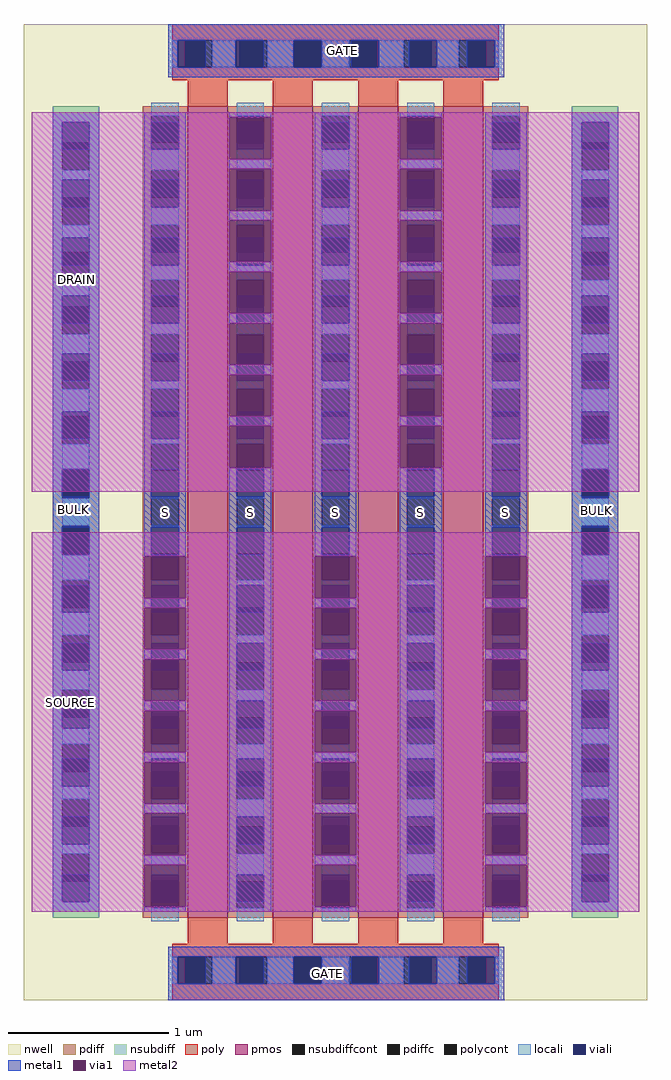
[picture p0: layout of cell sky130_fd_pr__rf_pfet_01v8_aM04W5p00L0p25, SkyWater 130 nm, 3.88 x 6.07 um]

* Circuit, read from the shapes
.subckt sky130_fd_pr__rf_pfet_01v8_aM04W5p00L0p25 BULK DRAIN GATE SOURCE
XM1 DRAIN GATE SOURCE BULK sky130_fd_pr__pfet_01v8 w=5.05 l=0.25 m=4
.ends

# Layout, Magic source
magic
tech sky130A
magscale 1 2
<< nwell >>
rect 0 0 776 1214
<< pmos >>
rect 204 102 254 1112
rect 310 102 360 1112
rect 416 102 466 1112
rect 522 102 572 1112
<< pdiff >>
rect 148 1100 204 1112
rect 148 1066 159 1100
rect 193 1066 204 1100
rect 148 1032 204 1066
rect 148 998 159 1032
rect 193 998 204 1032
rect 148 964 204 998
rect 148 930 159 964
rect 193 930 204 964
rect 148 896 204 930
rect 148 862 159 896
rect 193 862 204 896
rect 148 828 204 862
rect 148 794 159 828
rect 193 794 204 828
rect 148 760 204 794
rect 148 726 159 760
rect 193 726 204 760
rect 148 692 204 726
rect 148 658 159 692
rect 193 658 204 692
rect 148 624 204 658
rect 148 590 159 624
rect 193 590 204 624
rect 148 556 204 590
rect 148 522 159 556
rect 193 522 204 556
rect 148 488 204 522
rect 148 454 159 488
rect 193 454 204 488
rect 148 420 204 454
rect 148 386 159 420
rect 193 386 204 420
rect 148 352 204 386
rect 148 318 159 352
rect 193 318 204 352
rect 148 284 204 318
rect 148 250 159 284
rect 193 250 204 284
rect 148 216 204 250
rect 148 182 159 216
rect 193 182 204 216
rect 148 148 204 182
rect 148 114 159 148
rect 193 114 204 148
rect 148 102 204 114
rect 254 1100 310 1112
rect 254 1066 265 1100
rect 299 1066 310 1100
rect 254 1032 310 1066
rect 254 998 265 1032
rect 299 998 310 1032
rect 254 964 310 998
rect 254 930 265 964
rect 299 930 310 964
rect 254 896 310 930
rect 254 862 265 896
rect 299 862 310 896
rect 254 828 310 862
rect 254 794 265 828
rect 299 794 310 828
rect 254 760 310 794
rect 254 726 265 760
rect 299 726 310 760
rect 254 692 310 726
rect 254 658 265 692
rect 299 658 310 692
rect 254 624 310 658
rect 254 590 265 624
rect 299 590 310 624
rect 254 556 310 590
rect 254 522 265 556
rect 299 522 310 556
rect 254 488 310 522
rect 254 454 265 488
rect 299 454 310 488
rect 254 420 310 454
rect 254 386 265 420
rect 299 386 310 420
rect 254 352 310 386
rect 254 318 265 352
rect 299 318 310 352
rect 254 284 310 318
rect 254 250 265 284
rect 299 250 310 284
rect 254 216 310 250
rect 254 182 265 216
rect 299 182 310 216
rect 254 148 310 182
rect 254 114 265 148
rect 299 114 310 148
rect 254 102 310 114
rect 360 1100 416 1112
rect 360 1066 371 1100
rect 405 1066 416 1100
rect 360 1032 416 1066
rect 360 998 371 1032
rect 405 998 416 1032
rect 360 964 416 998
rect 360 930 371 964
rect 405 930 416 964
rect 360 896 416 930
rect 360 862 371 896
rect 405 862 416 896
rect 360 828 416 862
rect 360 794 371 828
rect 405 794 416 828
rect 360 760 416 794
rect 360 726 371 760
rect 405 726 416 760
rect 360 692 416 726
rect 360 658 371 692
rect 405 658 416 692
rect 360 624 416 658
rect 360 590 371 624
rect 405 590 416 624
rect 360 556 416 590
rect 360 522 371 556
rect 405 522 416 556
rect 360 488 416 522
rect 360 454 371 488
rect 405 454 416 488
rect 360 420 416 454
rect 360 386 371 420
rect 405 386 416 420
rect 360 352 416 386
rect 360 318 371 352
rect 405 318 416 352
rect 360 284 416 318
rect 360 250 371 284
rect 405 250 416 284
rect 360 216 416 250
rect 360 182 371 216
rect 405 182 416 216
rect 360 148 416 182
rect 360 114 371 148
rect 405 114 416 148
rect 360 102 416 114
rect 466 1100 522 1112
rect 466 1066 477 1100
rect 511 1066 522 1100
rect 466 1032 522 1066
rect 466 998 477 1032
rect 511 998 522 1032
rect 466 964 522 998
rect 466 930 477 964
rect 511 930 522 964
rect 466 896 522 930
rect 466 862 477 896
rect 511 862 522 896
rect 466 828 522 862
rect 466 794 477 828
rect 511 794 522 828
rect 466 760 522 794
rect 466 726 477 760
rect 511 726 522 760
rect 466 692 522 726
rect 466 658 477 692
rect 511 658 522 692
rect 466 624 522 658
rect 466 590 477 624
rect 511 590 522 624
rect 466 556 522 590
rect 466 522 477 556
rect 511 522 522 556
rect 466 488 522 522
rect 466 454 477 488
rect 511 454 522 488
rect 466 420 522 454
rect 466 386 477 420
rect 511 386 522 420
rect 466 352 522 386
rect 466 318 477 352
rect 511 318 522 352
rect 466 284 522 318
rect 466 250 477 284
rect 511 250 522 284
rect 466 216 522 250
rect 466 182 477 216
rect 511 182 522 216
rect 466 148 522 182
rect 466 114 477 148
rect 511 114 522 148
rect 466 102 522 114
rect 572 1100 628 1112
rect 572 1066 583 1100
rect 617 1066 628 1100
rect 572 1032 628 1066
rect 572 998 583 1032
rect 617 998 628 1032
rect 572 964 628 998
rect 572 930 583 964
rect 617 930 628 964
rect 572 896 628 930
rect 572 862 583 896
rect 617 862 628 896
rect 572 828 628 862
rect 572 794 583 828
rect 617 794 628 828
rect 572 760 628 794
rect 572 726 583 760
rect 617 726 628 760
rect 572 692 628 726
rect 572 658 583 692
rect 617 658 628 692
rect 572 624 628 658
rect 572 590 583 624
rect 617 590 628 624
rect 572 556 628 590
rect 572 522 583 556
rect 617 522 628 556
rect 572 488 628 522
rect 572 454 583 488
rect 617 454 628 488
rect 572 420 628 454
rect 572 386 583 420
rect 617 386 628 420
rect 572 352 628 386
rect 572 318 583 352
rect 617 318 628 352
rect 572 284 628 318
rect 572 250 583 284
rect 617 250 628 284
rect 572 216 628 250
rect 572 182 583 216
rect 617 182 628 216
rect 572 148 628 182
rect 572 114 583 148
rect 617 114 628 148
rect 572 102 628 114
<< pdiffc >>
rect 159 1066 193 1100
rect 159 998 193 1032
rect 159 930 193 964
rect 159 862 193 896
rect 159 794 193 828
rect 159 726 193 760
rect 159 658 193 692
rect 159 590 193 624
rect 159 522 193 556
rect 159 454 193 488
rect 159 386 193 420
rect 159 318 193 352
rect 159 250 193 284
rect 159 182 193 216
rect 159 114 193 148
rect 265 1066 299 1100
rect 265 998 299 1032
rect 265 930 299 964
rect 265 862 299 896
rect 265 794 299 828
rect 265 726 299 760
rect 265 658 299 692
rect 265 590 299 624
rect 265 522 299 556
rect 265 454 299 488
rect 265 386 299 420
rect 265 318 299 352
rect 265 250 299 284
rect 265 182 299 216
rect 265 114 299 148
rect 371 1066 405 1100
rect 371 998 405 1032
rect 371 930 405 964
rect 371 862 405 896
rect 371 794 405 828
rect 371 726 405 760
rect 371 658 405 692
rect 371 590 405 624
rect 371 522 405 556
rect 371 454 405 488
rect 371 386 405 420
rect 371 318 405 352
rect 371 250 405 284
rect 371 182 405 216
rect 371 114 405 148
rect 477 1066 511 1100
rect 477 998 511 1032
rect 477 930 511 964
rect 477 862 511 896
rect 477 794 511 828
rect 477 726 511 760
rect 477 658 511 692
rect 477 590 511 624
rect 477 522 511 556
rect 477 454 511 488
rect 477 386 511 420
rect 477 318 511 352
rect 477 250 511 284
rect 477 182 511 216
rect 477 114 511 148
rect 583 1066 617 1100
rect 583 998 617 1032
rect 583 930 617 964
rect 583 862 617 896
rect 583 794 617 828
rect 583 726 617 760
rect 583 658 617 692
rect 583 590 617 624
rect 583 522 617 556
rect 583 454 617 488
rect 583 386 617 420
rect 583 318 617 352
rect 583 250 617 284
rect 583 182 617 216
rect 583 114 617 148
<< nsubdiff >>
rect 36 1066 94 1112
rect 36 1032 48 1066
rect 82 1032 94 1066
rect 36 998 94 1032
rect 36 964 48 998
rect 82 964 94 998
rect 36 930 94 964
rect 36 896 48 930
rect 82 896 94 930
rect 36 862 94 896
rect 36 828 48 862
rect 82 828 94 862
rect 36 794 94 828
rect 36 760 48 794
rect 82 760 94 794
rect 36 726 94 760
rect 36 692 48 726
rect 82 692 94 726
rect 36 658 94 692
rect 36 624 48 658
rect 82 624 94 658
rect 36 590 94 624
rect 36 556 48 590
rect 82 556 94 590
rect 36 522 94 556
rect 36 488 48 522
rect 82 488 94 522
rect 36 454 94 488
rect 36 420 48 454
rect 82 420 94 454
rect 36 386 94 420
rect 36 352 48 386
rect 82 352 94 386
rect 36 318 94 352
rect 36 284 48 318
rect 82 284 94 318
rect 36 250 94 284
rect 36 216 48 250
rect 82 216 94 250
rect 36 182 94 216
rect 36 148 48 182
rect 82 148 94 182
rect 36 102 94 148
rect 682 1066 740 1112
rect 682 1032 694 1066
rect 728 1032 740 1066
rect 682 998 740 1032
rect 682 964 694 998
rect 728 964 740 998
rect 682 930 740 964
rect 682 896 694 930
rect 728 896 740 930
rect 682 862 740 896
rect 682 828 694 862
rect 728 828 740 862
rect 682 794 740 828
rect 682 760 694 794
rect 728 760 740 794
rect 682 726 740 760
rect 682 692 694 726
rect 728 692 740 726
rect 682 658 740 692
rect 682 624 694 658
rect 728 624 740 658
rect 682 590 740 624
rect 682 556 694 590
rect 728 556 740 590
rect 682 522 740 556
rect 682 488 694 522
rect 728 488 740 522
rect 682 454 740 488
rect 682 420 694 454
rect 728 420 740 454
rect 682 386 740 420
rect 682 352 694 386
rect 728 352 740 386
rect 682 318 740 352
rect 682 284 694 318
rect 728 284 740 318
rect 682 250 740 284
rect 682 216 694 250
rect 728 216 740 250
rect 682 182 740 216
rect 682 148 694 182
rect 728 148 740 182
rect 682 102 740 148
<< nsubdiffcont >>
rect 48 1032 82 1066
rect 48 964 82 998
rect 48 896 82 930
rect 48 828 82 862
rect 48 760 82 794
rect 48 692 82 726
rect 48 624 82 658
rect 48 556 82 590
rect 48 488 82 522
rect 48 420 82 454
rect 48 352 82 386
rect 48 284 82 318
rect 48 216 82 250
rect 48 148 82 182
rect 694 1032 728 1066
rect 694 964 728 998
rect 694 896 728 930
rect 694 828 728 862
rect 694 760 728 794
rect 694 692 728 726
rect 694 624 728 658
rect 694 556 728 590
rect 694 488 728 522
rect 694 420 728 454
rect 694 352 728 386
rect 694 284 728 318
rect 694 216 728 250
rect 694 148 728 182
<< poly >>
rect 185 1194 591 1214
rect 185 1160 201 1194
rect 235 1160 269 1194
rect 303 1160 337 1194
rect 371 1160 405 1194
rect 439 1160 473 1194
rect 507 1160 541 1194
rect 575 1160 591 1194
rect 185 1144 591 1160
rect 204 1112 254 1144
rect 310 1112 360 1144
rect 416 1112 466 1144
rect 522 1112 572 1144
rect 204 70 254 102
rect 310 70 360 102
rect 416 70 466 102
rect 522 70 572 102
rect 185 54 591 70
rect 185 20 201 54
rect 235 20 269 54
rect 303 20 337 54
rect 371 20 405 54
rect 439 20 473 54
rect 507 20 541 54
rect 575 20 591 54
rect 185 0 591 20
<< polycont >>
rect 201 1160 235 1194
rect 269 1160 303 1194
rect 337 1160 371 1194
rect 405 1160 439 1194
rect 473 1160 507 1194
rect 541 1160 575 1194
rect 201 20 235 54
rect 269 20 303 54
rect 337 20 371 54
rect 405 20 439 54
rect 473 20 507 54
rect 541 20 575 54
<< locali >>
rect 185 1160 192 1194
rect 235 1160 264 1194
rect 303 1160 336 1194
rect 371 1160 405 1194
rect 442 1160 473 1194
rect 514 1160 541 1194
rect 586 1160 591 1194
rect 159 1100 193 1116
rect 48 1020 82 1032
rect 48 948 82 964
rect 48 876 82 896
rect 48 804 82 828
rect 48 732 82 760
rect 48 660 82 692
rect 48 590 82 624
rect 48 522 82 554
rect 48 454 82 482
rect 48 386 82 410
rect 48 318 82 338
rect 48 250 82 266
rect 48 182 82 194
rect 159 1032 193 1058
rect 159 964 193 986
rect 159 896 193 914
rect 159 828 193 842
rect 159 760 193 770
rect 159 692 193 698
rect 159 624 193 626
rect 159 588 193 590
rect 159 516 193 522
rect 159 444 193 454
rect 159 372 193 386
rect 159 300 193 318
rect 159 228 193 250
rect 159 156 193 182
rect 159 98 193 114
rect 265 1100 299 1116
rect 265 1032 299 1058
rect 265 964 299 986
rect 265 896 299 914
rect 265 828 299 842
rect 265 760 299 770
rect 265 692 299 698
rect 265 624 299 626
rect 265 588 299 590
rect 265 516 299 522
rect 265 444 299 454
rect 265 372 299 386
rect 265 300 299 318
rect 265 228 299 250
rect 265 156 299 182
rect 265 98 299 114
rect 371 1100 405 1116
rect 371 1032 405 1058
rect 371 964 405 986
rect 371 896 405 914
rect 371 828 405 842
rect 371 760 405 770
rect 371 692 405 698
rect 371 624 405 626
rect 371 588 405 590
rect 371 516 405 522
rect 371 444 405 454
rect 371 372 405 386
rect 371 300 405 318
rect 371 228 405 250
rect 371 156 405 182
rect 371 98 405 114
rect 477 1100 511 1116
rect 477 1032 511 1058
rect 477 964 511 986
rect 477 896 511 914
rect 477 828 511 842
rect 477 760 511 770
rect 477 692 511 698
rect 477 624 511 626
rect 477 588 511 590
rect 477 516 511 522
rect 477 444 511 454
rect 477 372 511 386
rect 477 300 511 318
rect 477 228 511 250
rect 477 156 511 182
rect 477 98 511 114
rect 583 1100 617 1116
rect 583 1032 617 1058
rect 583 964 617 986
rect 583 896 617 914
rect 583 828 617 842
rect 583 760 617 770
rect 583 692 617 698
rect 583 624 617 626
rect 583 588 617 590
rect 583 516 617 522
rect 583 444 617 454
rect 583 372 617 386
rect 583 300 617 318
rect 583 228 617 250
rect 583 156 617 182
rect 694 1020 728 1032
rect 694 948 728 964
rect 694 876 728 896
rect 694 804 728 828
rect 694 732 728 760
rect 694 660 728 692
rect 694 590 728 624
rect 694 522 728 554
rect 694 454 728 482
rect 694 386 728 410
rect 694 318 728 338
rect 694 250 728 266
rect 694 182 728 194
rect 583 98 617 114
rect 185 20 192 54
rect 235 20 264 54
rect 303 20 336 54
rect 371 20 405 54
rect 442 20 473 54
rect 514 20 541 54
rect 586 20 591 54
<< viali >>
rect 192 1160 201 1194
rect 201 1160 226 1194
rect 264 1160 269 1194
rect 269 1160 298 1194
rect 336 1160 337 1194
rect 337 1160 370 1194
rect 408 1160 439 1194
rect 439 1160 442 1194
rect 480 1160 507 1194
rect 507 1160 514 1194
rect 552 1160 575 1194
rect 575 1160 586 1194
rect 48 1066 82 1092
rect 48 1058 82 1066
rect 48 998 82 1020
rect 48 986 82 998
rect 48 930 82 948
rect 48 914 82 930
rect 48 862 82 876
rect 48 842 82 862
rect 48 794 82 804
rect 48 770 82 794
rect 48 726 82 732
rect 48 698 82 726
rect 48 658 82 660
rect 48 626 82 658
rect 48 556 82 588
rect 48 554 82 556
rect 48 488 82 516
rect 48 482 82 488
rect 48 420 82 444
rect 48 410 82 420
rect 48 352 82 372
rect 48 338 82 352
rect 48 284 82 300
rect 48 266 82 284
rect 48 216 82 228
rect 48 194 82 216
rect 48 148 82 156
rect 48 122 82 148
rect 159 1066 193 1092
rect 159 1058 193 1066
rect 159 998 193 1020
rect 159 986 193 998
rect 159 930 193 948
rect 159 914 193 930
rect 159 862 193 876
rect 159 842 193 862
rect 159 794 193 804
rect 159 770 193 794
rect 159 726 193 732
rect 159 698 193 726
rect 159 658 193 660
rect 159 626 193 658
rect 159 556 193 588
rect 159 554 193 556
rect 159 488 193 516
rect 159 482 193 488
rect 159 420 193 444
rect 159 410 193 420
rect 159 352 193 372
rect 159 338 193 352
rect 159 284 193 300
rect 159 266 193 284
rect 159 216 193 228
rect 159 194 193 216
rect 159 148 193 156
rect 159 122 193 148
rect 265 1066 299 1092
rect 265 1058 299 1066
rect 265 998 299 1020
rect 265 986 299 998
rect 265 930 299 948
rect 265 914 299 930
rect 265 862 299 876
rect 265 842 299 862
rect 265 794 299 804
rect 265 770 299 794
rect 265 726 299 732
rect 265 698 299 726
rect 265 658 299 660
rect 265 626 299 658
rect 265 556 299 588
rect 265 554 299 556
rect 265 488 299 516
rect 265 482 299 488
rect 265 420 299 444
rect 265 410 299 420
rect 265 352 299 372
rect 265 338 299 352
rect 265 284 299 300
rect 265 266 299 284
rect 265 216 299 228
rect 265 194 299 216
rect 265 148 299 156
rect 265 122 299 148
rect 371 1066 405 1092
rect 371 1058 405 1066
rect 371 998 405 1020
rect 371 986 405 998
rect 371 930 405 948
rect 371 914 405 930
rect 371 862 405 876
rect 371 842 405 862
rect 371 794 405 804
rect 371 770 405 794
rect 371 726 405 732
rect 371 698 405 726
rect 371 658 405 660
rect 371 626 405 658
rect 371 556 405 588
rect 371 554 405 556
rect 371 488 405 516
rect 371 482 405 488
rect 371 420 405 444
rect 371 410 405 420
rect 371 352 405 372
rect 371 338 405 352
rect 371 284 405 300
rect 371 266 405 284
rect 371 216 405 228
rect 371 194 405 216
rect 371 148 405 156
rect 371 122 405 148
rect 477 1066 511 1092
rect 477 1058 511 1066
rect 477 998 511 1020
rect 477 986 511 998
rect 477 930 511 948
rect 477 914 511 930
rect 477 862 511 876
rect 477 842 511 862
rect 477 794 511 804
rect 477 770 511 794
rect 477 726 511 732
rect 477 698 511 726
rect 477 658 511 660
rect 477 626 511 658
rect 477 556 511 588
rect 477 554 511 556
rect 477 488 511 516
rect 477 482 511 488
rect 477 420 511 444
rect 477 410 511 420
rect 477 352 511 372
rect 477 338 511 352
rect 477 284 511 300
rect 477 266 511 284
rect 477 216 511 228
rect 477 194 511 216
rect 477 148 511 156
rect 477 122 511 148
rect 583 1066 617 1092
rect 583 1058 617 1066
rect 583 998 617 1020
rect 583 986 617 998
rect 583 930 617 948
rect 583 914 617 930
rect 583 862 617 876
rect 583 842 617 862
rect 583 794 617 804
rect 583 770 617 794
rect 583 726 617 732
rect 583 698 617 726
rect 583 658 617 660
rect 583 626 617 658
rect 583 556 617 588
rect 583 554 617 556
rect 583 488 617 516
rect 583 482 617 488
rect 583 420 617 444
rect 583 410 617 420
rect 583 352 617 372
rect 583 338 617 352
rect 583 284 617 300
rect 583 266 617 284
rect 583 216 617 228
rect 583 194 617 216
rect 583 148 617 156
rect 583 122 617 148
rect 694 1066 728 1092
rect 694 1058 728 1066
rect 694 998 728 1020
rect 694 986 728 998
rect 694 930 728 948
rect 694 914 728 930
rect 694 862 728 876
rect 694 842 728 862
rect 694 794 728 804
rect 694 770 728 794
rect 694 726 728 732
rect 694 698 728 726
rect 694 658 728 660
rect 694 626 728 658
rect 694 556 728 588
rect 694 554 728 556
rect 694 488 728 516
rect 694 482 728 488
rect 694 420 728 444
rect 694 410 728 420
rect 694 352 728 372
rect 694 338 728 352
rect 694 284 728 300
rect 694 266 728 284
rect 694 216 728 228
rect 694 194 728 216
rect 694 148 728 156
rect 694 122 728 148
rect 192 20 201 54
rect 201 20 226 54
rect 264 20 269 54
rect 269 20 298 54
rect 336 20 337 54
rect 337 20 370 54
rect 408 20 439 54
rect 439 20 442 54
rect 480 20 507 54
rect 507 20 514 54
rect 552 20 575 54
rect 575 20 586 54
<< metal1 >>
rect 180 1194 598 1214
rect 180 1160 192 1194
rect 226 1160 264 1194
rect 298 1160 336 1194
rect 370 1160 408 1194
rect 442 1160 480 1194
rect 514 1160 552 1194
rect 586 1160 598 1194
rect 180 1148 598 1160
rect 36 1092 94 1104
rect 36 1058 48 1092
rect 82 1058 94 1092
rect 36 1020 94 1058
rect 36 986 48 1020
rect 82 986 94 1020
rect 36 948 94 986
rect 36 914 48 948
rect 82 914 94 948
rect 36 876 94 914
rect 36 842 48 876
rect 82 842 94 876
rect 36 804 94 842
rect 36 770 48 804
rect 82 770 94 804
rect 36 732 94 770
rect 36 698 48 732
rect 82 698 94 732
rect 36 660 94 698
rect 36 626 48 660
rect 82 626 94 660
rect 36 588 94 626
rect 36 554 48 588
rect 82 554 94 588
rect 36 516 94 554
rect 36 482 48 516
rect 82 482 94 516
rect 36 444 94 482
rect 36 410 48 444
rect 82 410 94 444
rect 36 372 94 410
rect 36 338 48 372
rect 82 338 94 372
rect 36 300 94 338
rect 36 266 48 300
rect 82 266 94 300
rect 36 228 94 266
rect 36 194 48 228
rect 82 194 94 228
rect 36 156 94 194
rect 36 122 48 156
rect 82 122 94 156
rect 36 110 94 122
rect 150 1092 202 1104
rect 150 1058 159 1092
rect 193 1058 202 1092
rect 150 1020 202 1058
rect 150 986 159 1020
rect 193 986 202 1020
rect 150 948 202 986
rect 150 914 159 948
rect 193 914 202 948
rect 150 876 202 914
rect 150 842 159 876
rect 193 842 202 876
rect 150 804 202 842
rect 150 770 159 804
rect 193 770 202 804
rect 150 732 202 770
rect 150 698 159 732
rect 193 698 202 732
rect 150 660 202 698
rect 150 626 159 660
rect 193 626 202 660
rect 150 588 202 626
rect 150 554 159 588
rect 193 554 202 588
rect 150 552 202 554
rect 150 488 159 500
rect 193 488 202 500
rect 150 424 159 436
rect 193 424 202 436
rect 150 360 159 372
rect 193 360 202 372
rect 150 300 202 308
rect 150 296 159 300
rect 193 296 202 300
rect 150 232 202 244
rect 150 168 202 180
rect 150 110 202 116
rect 256 1098 308 1104
rect 256 1034 308 1046
rect 256 970 308 982
rect 256 914 265 918
rect 299 914 308 918
rect 256 906 308 914
rect 256 842 265 854
rect 299 842 308 854
rect 256 778 265 790
rect 299 778 308 790
rect 256 714 265 726
rect 299 714 308 726
rect 256 660 308 662
rect 256 626 265 660
rect 299 626 308 660
rect 256 588 308 626
rect 256 554 265 588
rect 299 554 308 588
rect 256 516 308 554
rect 256 482 265 516
rect 299 482 308 516
rect 256 444 308 482
rect 256 410 265 444
rect 299 410 308 444
rect 256 372 308 410
rect 256 338 265 372
rect 299 338 308 372
rect 256 300 308 338
rect 256 266 265 300
rect 299 266 308 300
rect 256 228 308 266
rect 256 194 265 228
rect 299 194 308 228
rect 256 156 308 194
rect 256 122 265 156
rect 299 122 308 156
rect 256 110 308 122
rect 362 1092 414 1104
rect 362 1058 371 1092
rect 405 1058 414 1092
rect 362 1020 414 1058
rect 362 986 371 1020
rect 405 986 414 1020
rect 362 948 414 986
rect 362 914 371 948
rect 405 914 414 948
rect 362 876 414 914
rect 362 842 371 876
rect 405 842 414 876
rect 362 804 414 842
rect 362 770 371 804
rect 405 770 414 804
rect 362 732 414 770
rect 362 698 371 732
rect 405 698 414 732
rect 362 660 414 698
rect 362 626 371 660
rect 405 626 414 660
rect 362 588 414 626
rect 362 554 371 588
rect 405 554 414 588
rect 362 552 414 554
rect 362 488 371 500
rect 405 488 414 500
rect 362 424 371 436
rect 405 424 414 436
rect 362 360 371 372
rect 405 360 414 372
rect 362 300 414 308
rect 362 296 371 300
rect 405 296 414 300
rect 362 232 414 244
rect 362 168 414 180
rect 362 110 414 116
rect 468 1098 520 1104
rect 468 1034 520 1046
rect 468 970 520 982
rect 468 914 477 918
rect 511 914 520 918
rect 468 906 520 914
rect 468 842 477 854
rect 511 842 520 854
rect 468 778 477 790
rect 511 778 520 790
rect 468 714 477 726
rect 511 714 520 726
rect 468 660 520 662
rect 468 626 477 660
rect 511 626 520 660
rect 468 588 520 626
rect 468 554 477 588
rect 511 554 520 588
rect 468 516 520 554
rect 468 482 477 516
rect 511 482 520 516
rect 468 444 520 482
rect 468 410 477 444
rect 511 410 520 444
rect 468 372 520 410
rect 468 338 477 372
rect 511 338 520 372
rect 468 300 520 338
rect 468 266 477 300
rect 511 266 520 300
rect 468 228 520 266
rect 468 194 477 228
rect 511 194 520 228
rect 468 156 520 194
rect 468 122 477 156
rect 511 122 520 156
rect 468 110 520 122
rect 574 1092 626 1104
rect 574 1058 583 1092
rect 617 1058 626 1092
rect 574 1020 626 1058
rect 574 986 583 1020
rect 617 986 626 1020
rect 574 948 626 986
rect 574 914 583 948
rect 617 914 626 948
rect 574 876 626 914
rect 574 842 583 876
rect 617 842 626 876
rect 574 804 626 842
rect 574 770 583 804
rect 617 770 626 804
rect 574 732 626 770
rect 574 698 583 732
rect 617 698 626 732
rect 574 660 626 698
rect 574 626 583 660
rect 617 626 626 660
rect 574 588 626 626
rect 574 554 583 588
rect 617 554 626 588
rect 574 552 626 554
rect 574 488 583 500
rect 617 488 626 500
rect 574 424 583 436
rect 617 424 626 436
rect 574 360 583 372
rect 617 360 626 372
rect 574 300 626 308
rect 574 296 583 300
rect 617 296 626 300
rect 574 232 626 244
rect 574 168 626 180
rect 574 110 626 116
rect 682 1092 740 1104
rect 682 1058 694 1092
rect 728 1058 740 1092
rect 682 1020 740 1058
rect 682 986 694 1020
rect 728 986 740 1020
rect 682 948 740 986
rect 682 914 694 948
rect 728 914 740 948
rect 682 876 740 914
rect 682 842 694 876
rect 728 842 740 876
rect 682 804 740 842
rect 682 770 694 804
rect 728 770 740 804
rect 682 732 740 770
rect 682 698 694 732
rect 728 698 740 732
rect 682 660 740 698
rect 682 626 694 660
rect 728 626 740 660
rect 682 588 740 626
rect 682 554 694 588
rect 728 554 740 588
rect 682 516 740 554
rect 682 482 694 516
rect 728 482 740 516
rect 682 444 740 482
rect 682 410 694 444
rect 728 410 740 444
rect 682 372 740 410
rect 682 338 694 372
rect 728 338 740 372
rect 682 300 740 338
rect 682 266 694 300
rect 728 266 740 300
rect 682 228 740 266
rect 682 194 694 228
rect 728 194 740 228
rect 682 156 740 194
rect 682 122 694 156
rect 728 122 740 156
rect 682 110 740 122
rect 180 54 598 66
rect 180 20 192 54
rect 226 20 264 54
rect 298 20 336 54
rect 370 20 408 54
rect 442 20 480 54
rect 514 20 552 54
rect 586 20 598 54
rect 180 0 598 20
<< via1 >>
rect 150 516 202 552
rect 150 500 159 516
rect 159 500 193 516
rect 193 500 202 516
rect 150 482 159 488
rect 159 482 193 488
rect 193 482 202 488
rect 150 444 202 482
rect 150 436 159 444
rect 159 436 193 444
rect 193 436 202 444
rect 150 410 159 424
rect 159 410 193 424
rect 193 410 202 424
rect 150 372 202 410
rect 150 338 159 360
rect 159 338 193 360
rect 193 338 202 360
rect 150 308 202 338
rect 150 266 159 296
rect 159 266 193 296
rect 193 266 202 296
rect 150 244 202 266
rect 150 228 202 232
rect 150 194 159 228
rect 159 194 193 228
rect 193 194 202 228
rect 150 180 202 194
rect 150 156 202 168
rect 150 122 159 156
rect 159 122 193 156
rect 193 122 202 156
rect 150 116 202 122
rect 256 1092 308 1098
rect 256 1058 265 1092
rect 265 1058 299 1092
rect 299 1058 308 1092
rect 256 1046 308 1058
rect 256 1020 308 1034
rect 256 986 265 1020
rect 265 986 299 1020
rect 299 986 308 1020
rect 256 982 308 986
rect 256 948 308 970
rect 256 918 265 948
rect 265 918 299 948
rect 299 918 308 948
rect 256 876 308 906
rect 256 854 265 876
rect 265 854 299 876
rect 299 854 308 876
rect 256 804 308 842
rect 256 790 265 804
rect 265 790 299 804
rect 299 790 308 804
rect 256 770 265 778
rect 265 770 299 778
rect 299 770 308 778
rect 256 732 308 770
rect 256 726 265 732
rect 265 726 299 732
rect 299 726 308 732
rect 256 698 265 714
rect 265 698 299 714
rect 299 698 308 714
rect 256 662 308 698
rect 362 516 414 552
rect 362 500 371 516
rect 371 500 405 516
rect 405 500 414 516
rect 362 482 371 488
rect 371 482 405 488
rect 405 482 414 488
rect 362 444 414 482
rect 362 436 371 444
rect 371 436 405 444
rect 405 436 414 444
rect 362 410 371 424
rect 371 410 405 424
rect 405 410 414 424
rect 362 372 414 410
rect 362 338 371 360
rect 371 338 405 360
rect 405 338 414 360
rect 362 308 414 338
rect 362 266 371 296
rect 371 266 405 296
rect 405 266 414 296
rect 362 244 414 266
rect 362 228 414 232
rect 362 194 371 228
rect 371 194 405 228
rect 405 194 414 228
rect 362 180 414 194
rect 362 156 414 168
rect 362 122 371 156
rect 371 122 405 156
rect 405 122 414 156
rect 362 116 414 122
rect 468 1092 520 1098
rect 468 1058 477 1092
rect 477 1058 511 1092
rect 511 1058 520 1092
rect 468 1046 520 1058
rect 468 1020 520 1034
rect 468 986 477 1020
rect 477 986 511 1020
rect 511 986 520 1020
rect 468 982 520 986
rect 468 948 520 970
rect 468 918 477 948
rect 477 918 511 948
rect 511 918 520 948
rect 468 876 520 906
rect 468 854 477 876
rect 477 854 511 876
rect 511 854 520 876
rect 468 804 520 842
rect 468 790 477 804
rect 477 790 511 804
rect 511 790 520 804
rect 468 770 477 778
rect 477 770 511 778
rect 511 770 520 778
rect 468 732 520 770
rect 468 726 477 732
rect 477 726 511 732
rect 511 726 520 732
rect 468 698 477 714
rect 477 698 511 714
rect 511 698 520 714
rect 468 662 520 698
rect 574 516 626 552
rect 574 500 583 516
rect 583 500 617 516
rect 617 500 626 516
rect 574 482 583 488
rect 583 482 617 488
rect 617 482 626 488
rect 574 444 626 482
rect 574 436 583 444
rect 583 436 617 444
rect 617 436 626 444
rect 574 410 583 424
rect 583 410 617 424
rect 617 410 626 424
rect 574 372 626 410
rect 574 338 583 360
rect 583 338 617 360
rect 617 338 626 360
rect 574 308 626 338
rect 574 266 583 296
rect 583 266 617 296
rect 617 266 626 296
rect 574 244 626 266
rect 574 228 626 232
rect 574 194 583 228
rect 583 194 617 228
rect 617 194 626 228
rect 574 180 626 194
rect 574 156 626 168
rect 574 122 583 156
rect 583 122 617 156
rect 617 122 626 156
rect 574 116 626 122
<< metal2 >>
rect 10 1098 766 1104
rect 10 1046 256 1098
rect 308 1046 468 1098
rect 520 1046 766 1098
rect 10 1034 766 1046
rect 10 982 256 1034
rect 308 982 468 1034
rect 520 982 766 1034
rect 10 970 766 982
rect 10 918 256 970
rect 308 918 468 970
rect 520 918 766 970
rect 10 906 766 918
rect 10 854 256 906
rect 308 854 468 906
rect 520 854 766 906
rect 10 842 766 854
rect 10 790 256 842
rect 308 790 468 842
rect 520 790 766 842
rect 10 778 766 790
rect 10 726 256 778
rect 308 726 468 778
rect 520 726 766 778
rect 10 714 766 726
rect 10 662 256 714
rect 308 662 468 714
rect 520 662 766 714
rect 10 632 766 662
rect 10 552 766 582
rect 10 500 150 552
rect 202 500 362 552
rect 414 500 574 552
rect 626 500 766 552
rect 10 488 766 500
rect 10 436 150 488
rect 202 436 362 488
rect 414 436 574 488
rect 626 436 766 488
rect 10 424 766 436
rect 10 372 150 424
rect 202 372 362 424
rect 414 372 574 424
rect 626 372 766 424
rect 10 360 766 372
rect 10 308 150 360
rect 202 308 362 360
rect 414 308 574 360
rect 626 308 766 360
rect 10 296 766 308
rect 10 244 150 296
rect 202 244 362 296
rect 414 244 574 296
rect 626 244 766 296
rect 10 232 766 244
rect 10 180 150 232
rect 202 180 362 232
rect 414 180 574 232
rect 626 180 766 232
rect 10 168 766 180
rect 10 116 150 168
rect 202 116 362 168
rect 414 116 574 168
rect 626 116 766 168
rect 10 110 766 116
<< labels >>
flabel comment s 176 607 176 607 0 FreeSans 300 0 0 0 S
flabel comment s 176 607 176 607 0 FreeSans 300 0 0 0 S
flabel comment s 282 607 282 607 0 FreeSans 300 0 0 0 S
flabel comment s 282 607 282 607 0 FreeSans 300 0 0 0 D
flabel comment s 388 607 388 607 0 FreeSans 300 0 0 0 S
flabel comment s 388 607 388 607 0 FreeSans 300 0 0 0 S
flabel comment s 494 607 494 607 0 FreeSans 300 0 0 0 S
flabel comment s 494 607 494 607 0 FreeSans 300 0 0 0 D
flabel comment s 600 607 600 607 0 FreeSans 300 0 0 0 S
flabel metal1 s 696 603 730 614 0 FreeSans 100 0 0 0 BULK
port 1 nsew
flabel metal1 s 45 605 79 616 0 FreeSans 100 0 0 0 BULK
port 1 nsew
flabel metal1 s 368 1169 426 1194 0 FreeSans 100 0 0 0 GATE
port 3 nsew
flabel metal1 s 349 21 407 46 0 FreeSans 100 0 0 0 GATE
port 3 nsew
flabel metal2 s 58 863 73 929 0 FreeSans 100 0 0 0 DRAIN
port 2 nsew
flabel metal2 s 51 339 65 402 0 FreeSans 100 0 0 0 SOURCE
port 4 nsew
<< properties >>
string GDS_FILE $PDKPATH/libs.ref/sky130_fd_pr/gds/sky130_fd_pr.gds
string GDS_END 9527846
string GDS_START 9505560
<< end >>
